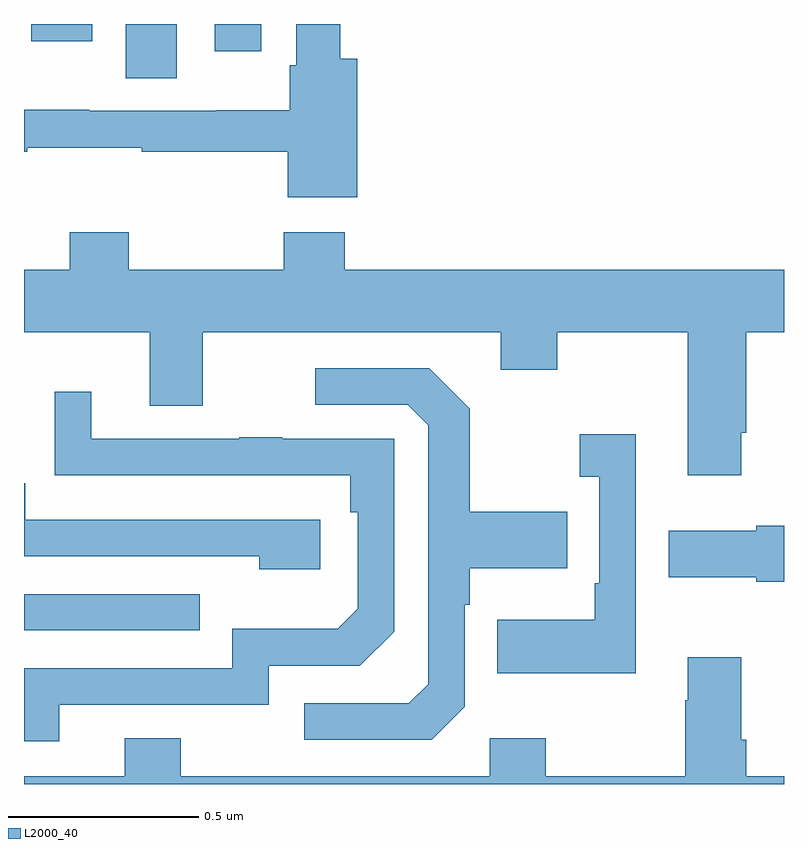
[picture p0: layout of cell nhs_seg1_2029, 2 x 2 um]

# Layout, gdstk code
import gdstk
lib = gdstk.Library(unit=1e-6, precision=1e-09)
def R(c, l, rs):  # rectangles x0, y0, x1, y1
    for r in rs: c.add(gdstk.rectangle(r[:2], r[2:], *l))
def P(c, l, *ps):  # polygons
    for p in ps: c.add(gdstk.Polygon(p, *l))
L2000_40 = (2000, 40)

nhs_seg1_2029 = lib.new_cell('nhs_seg1_2029')
R(nhs_seg1_2029, L2000_40, [(136,561.603,136.463,561.699), (136.268,563.056,136.402,563.199), (136.502,563.127,136.624,563.199), (136.019,563.154,136.18,563.199)])
P(nhs_seg1_2029, L2000_40, [(136.877,563.107),(136.832,563.107),(136.832,563.199),(136.716,563.199),(136.716,563.091),(136.699,563.091),(136.699,562.972),(136.506,562.972),(136.506,562.971),(136.172,562.971),(136.172,562.973),(136,562.973),(136,562.863),(136.009,562.863),(136.009,562.873),(136.31,562.873),(136.31,562.863),(136.694,562.863),(136.694,562.743),(136.877,562.743)],
  [(137.887,562.123),(137.9,562.123),(137.9,562.388),(138,562.388),(138,562.552),(136.844,562.552),(136.844,562.651),(136.684,562.651),(136.684,562.552),(136.275,562.552),(136.275,562.651),(136.12,562.651),(136.12,562.552),(136,562.552),(136,562.388),(136.331,562.388),(136.331,562.194),(136.471,562.194),(136.471,562.388),(137.255,562.388),(137.255,562.289),(137.403,562.289),(137.403,562.388),(137.747,562.388),(137.747,562.011),(137.887,562.011)],
  [(137.16,561.402),(137.16,561.671),(137.173,561.671),(137.173,561.767),(137.429,561.767),(137.429,561.915),(137.173,561.915),(137.173,562.187),(137.067,562.293),(136.767,562.293),(136.767,562.197),(137.01,562.197),(137.064,562.143),(137.064,561.462),(137.013,561.411),(136.737,561.411),(136.737,561.315),(137.073,561.315)],
  [(136.093,561.408),(136.644,561.408),(136.644,561.51),(136.884,561.51),(136.974,561.6),(136.974,562.107),(136.679,562.107),(136.679,562.112),(136.567,562.112),(136.567,562.107),(136.177,562.107),(136.177,562.231),(136.081,562.231),(136.081,562.012),(136.183,562.012),(136.183,562.011),(136.858,562.011),(136.858,561.914),(136.878,561.914),(136.878,561.66),(136.825,561.607),(136.548,561.607),(136.548,561.504),(136,561.504),(136,561.312),(136.093,561.312)],
  [(137.61,562.12),(137.463,562.12),(137.463,562.007),(137.514,562.007),(137.514,561.727),(137.502,561.727),(137.502,561.631),(137.245,561.631),(137.245,561.491),(137.61,561.491)],
  [(136.78,561.894),(136.003,561.894),(136.003,561.991),(136,561.991),(136,561.798),(136.619,561.798),(136.619,561.764),(136.78,561.764)],
  [(138,561.878),(137.927,561.878),(137.927,561.865),(137.697,561.865),(137.697,561.743),(137.927,561.743),(137.927,561.731),(138,561.731)],
  [(138,561.22),(137.9,561.22),(137.9,561.316),(137.887,561.316),(137.887,561.532),(137.747,561.532),(137.747,561.419),(137.74,561.419),(137.74,561.22),(137.373,561.22),(137.373,561.319),(137.226,561.319),(137.226,561.22),(136.413,561.22),(136.413,561.319),(136.265,561.319),(136.265,561.22),(136,561.22),(136,561.199),(138,561.199)])

lib.write_gds('nhs_seg1_2029.gds')
